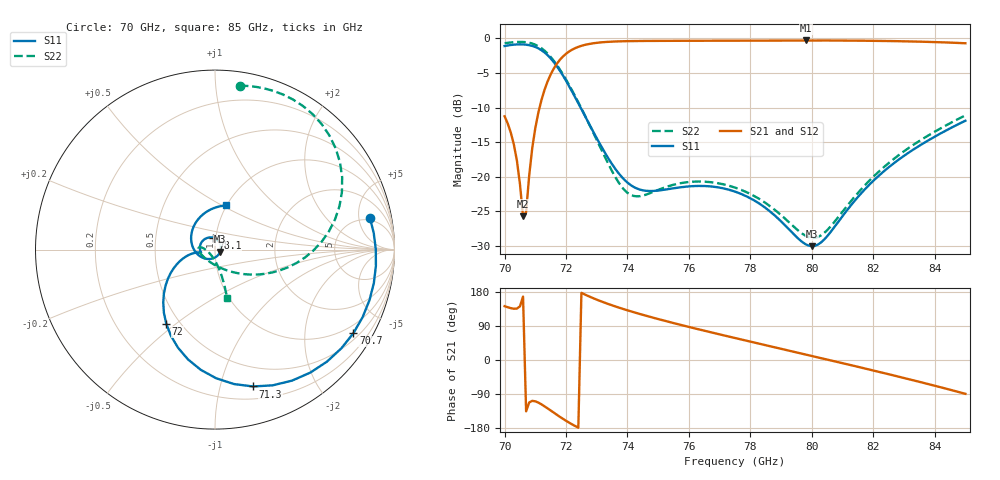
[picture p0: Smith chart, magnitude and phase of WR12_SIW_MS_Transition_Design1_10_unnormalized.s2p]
! Touchstone file exported from HFSS 2020.1.3
!  File:  /home/erdoel/scratch/P2S30/WR12_SIW_MS_Transition.aedt
!  Generated:  5:03:37 PM  Feb 06, 2021
!  Design:  Design1
!  Project:  WR12_SIW_MS_Transition
!  Setup:  Setup1
!  Solution:  Sweep
! Variables:
!  T_L2 = 35um
!  fil = 0.3mm
!  hm = 0.4mm
!  hsub = 0.127mm
!  hwg = 1.55mm
!  l1 = 1.05mm
!  lcav = 1.92mm
!  lt = 0.7mm
!  offx = 0um
!  offy = 0um
!  rvia = 0.075mm
!  s1 = 1.33mm
!  shift = 20um
!  sl = 3.08mm
!  sy = 0.65mm
!  th = 35um
!  w1 = 1.2mm
!  w50 = 300um
!  wcav = 3.5mm
!  wm = 1.9mm
!  wslot = 1.5mm
!  wt = 0.6mm
!  wwg = 3.1mm
!Data is not renormalized
# GHZ S MA
! Terminal data exported
! Port[1] = MS
! Port[2] = WG
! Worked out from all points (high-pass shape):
!   151 points, 70 GHz to 85 GHz, reference per port
!   highest |S21| = -0.30 dB at 79.8 GHz (marker M1); lowest = -25.7 dB at 70.6 GHz (marker M2)
!   |S21| within 3 dB of the highest: 71.76 GHz to end of sweep
!   lowest |S11| = -30.0 dB at 80 GHz (marker M3), VSWR 1.07
!   |S11| at or under -10 dB: 72.47 GHz to end of sweep
!   |S22| runs from -28.8 to -0.5 dB; largest |S21 - S12| = 1.7e-14
!   S11 on the Smith chart (normalised r, x): 70 GHz: 4.47, +7.07; 70.7 GHz: 0.70, -3.46; 71.3 GHz: 0.31, -1.27; 72 GHz: 0.42, -0.46; 78.1 GHz: 0.97, +0.13; 85 GHz: 1.00, +0.53
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70  0.8811 11.6  0.2737 142.0  0.2737 142.0  0.9236 81.4
! Gamma 0 1043.62849016908 0 0 0 0 2.94096414646766 2283.30777293713
! Port Impedance538.380544946762 0 0 0 0 0 53.8901920451825 -0.013268412132387
70.4  0.9044 -11.8  0.1311 135.7  0.1311 135.7  0.9422 69.8
70.6  0.9046 -24.5  0.05174 167.4  0.05174 167.4  0.9424 62.5
70.7  0.9007 -31.2  0.05557 -135.3  0.05557 -135.3  0.9382 58.5
70.9  0.8825 -45.0  0.1614 -107.8  0.1614 -107.8  0.9178 49.7
71.1  0.8469 -59.5  0.292 -112.5  0.292 -112.5  0.8774 40.0
71.3  0.7914 -74.5  0.4253 -122.2  0.4253 -122.2  0.8152 29.7
71.7  0.6299 -103.8  0.6557 -144.6  0.6557 -144.6  0.643 9.1
72  0.4946 -123.3  0.7747 -160.4  0.7747 -160.4  0.504 -5.0
72.5  0.3084 -148.3  0.8837 177.2  0.8837 177.2  0.3121 -25.5
73.1  0.1732 -165.8  0.9344 156.0  0.9344 156.0  0.1658 -50.1
73.9  0.09525 -170.4  0.9543 133.6  0.9543 133.6  0.08034 -98.5
75  0.07964 -170.2  0.9598 108.0  0.9598 108.0  0.08052 -160.0
76.2  0.08586 165.8  0.9616 83.2  0.9616 83.2  0.09243 178.2
77.5  0.07824 124.0  0.9637 58.0  0.9637 58.0  0.08365 171.0
78.1  0.06805 101.1  0.9647 46.6  0.9647 46.6  0.07323 171.4
79.8  0.03259 -0.6  0.9663 14.5  0.9663 14.5  0.03751 -152.7
80  0.03157 -20.5  0.9662 10.7  0.9662 10.7  0.03625 -141.3
81.2  0.05942 -118.4  0.9642 -12.1  0.9642 -12.1  0.06373 -89.0
82.5  0.1171 -179.9  0.9573 -37.5  0.9573 -37.5  0.1257 -76.8
83.8  0.1838 126.1  0.9436 -63.7  0.9436 -63.7  0.1996 -75.3
85  0.2543 75.4  0.9224 -89.2  0.9224 -89.2  0.2782 -76.0
